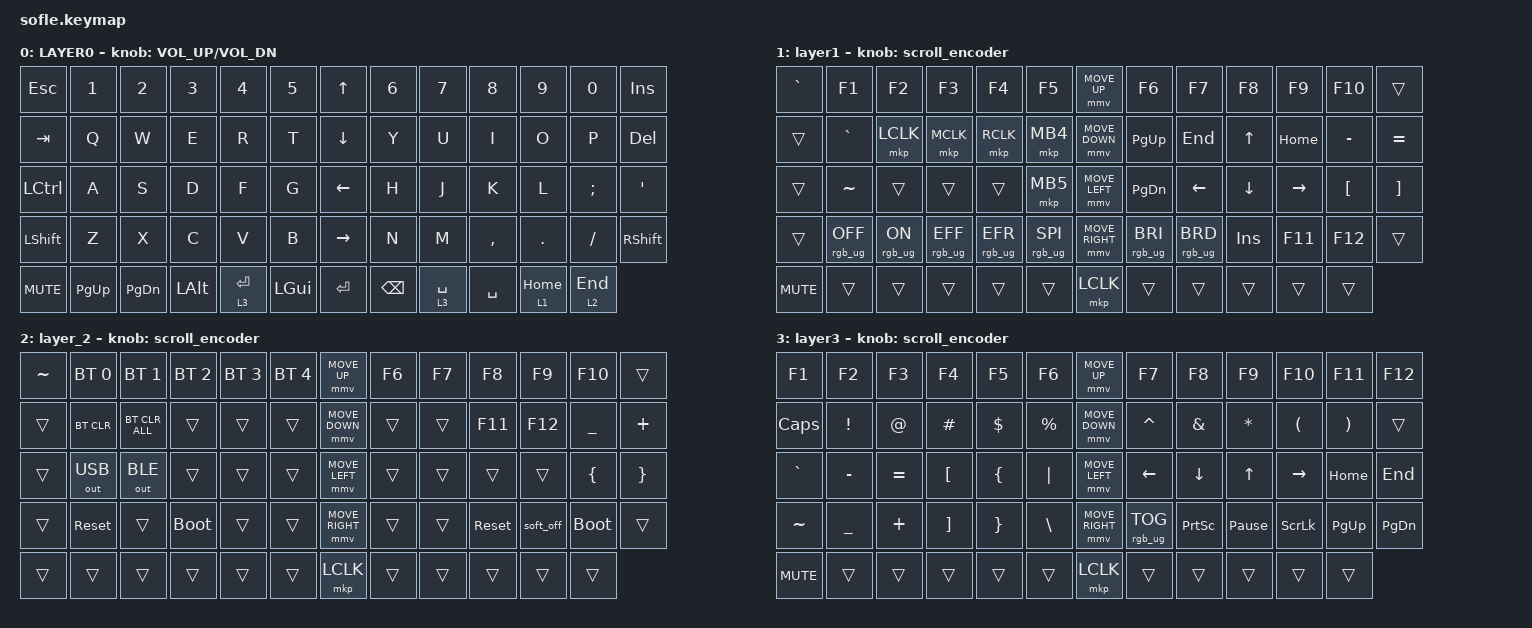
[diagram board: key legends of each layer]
#include <behaviors/mouse_keys.dtsi>
#include <behaviors.dtsi>
#include <dt-bindings/zmk/bt.h>
#include <dt-bindings/zmk/keys.h>
#include <dt-bindings/zmk/mouse.h>
#include <dt-bindings/zmk/outputs.h>
#include <dt-bindings/zmk/rgb.h>

#define ZMK_MOUSE_DEFAULT_MOVE_VAL 1200  // 600
#define ZMK_MOUSE_DEFAULT_SCRL_VAL 20    // 10
#define U_MS_U &mmv MOVE_UP
#define U_MS_D &mmv MOVE_DOWN
#define U_MS_L &mmv MOVE_LEFT
#define U_MS_R &mmv MOVE_RIGHT
#define ZMK_MOUSE_DEFAULT_MOVE_VAL 1200  //  600
#define ZMK_MOUSE_DEFAULT_SCRL_VAL 20    // 10

/ {
    behaviors {
        mmv {
            acceleration-exponent = <1>;      // 1
            time-to-max-speed-ms = <900>;    // 40
            delay-ms = <0>;                   // 0
        };

        msc {
            acceleration-exponent = <1>;      // 0
            time-to-max-speed-ms = <400>;      // 500
            delay-ms = <0>;                   //   10
        };
    };

    scroll_encoder: scroll_encoder {
        compatible = "zmk,behavior-sensor-rotate";
        #sensor-binding-cells = <0>;
        bindings = <&msc SCRL_DOWN>, <&msc SCRL_UP>;

        tap-ms = <30>;
    };

    keymap {
        compatible = "zmk,keymap";

        layer0 {
            bindings = <
&kp ESC     &kp N1     &kp N2        &kp N3        &kp N4       &kp N5        &kp UP_ARROW     &kp N6         &kp N7       &kp N8     &kp N9           &kp N0      &kp INS
&kp TAB     &kp Q      &kp W         &kp E         &kp R        &kp T         &kp DOWN_ARROW   &kp Y          &kp U        &kp I      &kp O            &kp P       &kp DEL
&kp LCTRL   &kp A      &kp S         &kp D         &kp F        &kp G         &kp LEFT_ARROW   &kp H          &kp J        &kp K      &kp L            &kp SEMI    &kp APOS
&kp LSHFT   &kp Z      &kp X         &kp C         &kp V        &kp B         &kp RIGHT_ARROW  &kp N          &kp M        &kp COMMA  &kp DOT          &kp FSLH    &kp RSHFT
&kp C_MUTE  &kp PG_UP  &kp PG_DN     &kp LEFT_ALT  &lt 3 ENTER  &kp LEFT_GUI  &kp ENTER        &kp BACKSPACE  &lt 3 SPACE  &kp SPACE  &lt 1 HOME       &lt 2 END
            >;

            sensor-bindings = <&inc_dec_kp C_VOLUME_UP C_VOL_DN>;
            display-name = "LAYER0";
        };

        layer_1 {
            bindings = <
&kp GRAVE   &kp F1           &kp F2          &kp F3           &kp F4           &kp F5             &mmv MOVE_UP     &kp F6           &kp F7           &kp F8      &kp F9     &kp F10           &trans
&trans      &kp GRAVE        &mkp LCLK       &mkp MCLK        &mkp RCLK        &mkp MB4           &mmv MOVE_DOWN   &kp PG_UP        &kp END          &kp UP      &kp HOME   &kp MINUS         &kp EQUAL
&trans      &kp TILDE        &trans          &trans           &trans           &mkp MB5           &mmv MOVE_LEFT   &kp PG_DN        &kp LEFT         &kp DOWN    &kp RIGHT  &kp LEFT_BRACKET  &kp RIGHT_BRACKET
&trans      &rgb_ug RGB_OFF  &rgb_ug RGB_ON  &rgb_ug RGB_EFF  &rgb_ug RGB_EFR  &rgb_ug RGB_SPI    &mmv MOVE_RIGHT  &rgb_ug RGB_BRI  &rgb_ug RGB_BRD  &kp INSERT  &kp F11    &kp F12           &trans
&kp C_MUTE  &trans           &trans          &trans           &trans           &trans             &mkp LCLK        &trans           &trans           &trans      &trans     &trans
            >;

            display-name = "layer1";
            sensor-bindings = <&scroll_encoder>;
        };

        layer_2 {
            bindings = <
&kp TILDE  &bt BT_SEL 0  &bt BT_SEL 1    &bt BT_SEL 2  &bt BT_SEL 3  &bt BT_SEL 4    &mmv MOVE_UP     &kp F6  &kp F7  &kp F8      &kp F9     &kp F10      &trans
&trans     &bt BT_CLR    &bt BT_CLR_ALL  &trans        &trans        &trans          &mmv MOVE_DOWN   &trans  &trans  &kp F11     &kp F12    &kp UNDER    &kp PLUS
&trans     &out OUT_USB  &out OUT_BLE    &trans        &trans        &trans          &mmv MOVE_LEFT   &trans  &trans  &trans      &trans     &kp LBRC     &kp RBRC
&trans     &sys_reset    &trans          &bootloader   &trans        &trans          &mmv MOVE_RIGHT  &trans  &trans  &sys_reset  &soft_off  &bootloader  &trans
&trans     &trans        &trans          &trans        &trans        &trans          &mkp LCLK        &trans  &trans  &trans      &trans     &trans
            >;

            sensor-bindings = <&scroll_encoder>;
        };

        layer_3 {
            bindings = <
&kp F1      &kp F2           &kp F3          &kp F4           &kp F5           &kp F6             &mmv MOVE_UP     &kp F7           &kp F8           &kp F9           &kp F10         &kp F11           &kp F12
&kp CLCK    &kp EXCL         &kp AT          &kp HASH         &kp DLLR         &kp PRCNT          &mmv MOVE_DOWN   &kp CARET        &kp AMPS         &kp STAR         &kp LPAR        &kp RPAR          &trans
&kp GRAVE   &kp MINUS        &kp EQUAL       &kp LBKT         &kp LBRC         &kp PIPE           &mmv MOVE_LEFT   &kp LEFT         &kp DOWN         &kp UP           &kp RIGHT       &kp HOME          &kp END
&kp TILDE   &kp UNDER        &kp PLUS        &kp RBKT         &kp RBRC         &kp BSLH           &mmv MOVE_RIGHT  &rgb_ug RGB_TOG  &kp PRINTSCREEN  &kp PAUSE_BREAK  &kp SCROLLLOCK  &kp PG_UP         &kp PG_DN
&kp C_MUTE  &trans           &trans          &trans           &trans           &trans             &mkp LCLK        &trans           &trans           &trans           &trans          &trans
            >;

            display-name = "layer3";
            sensor-bindings = <&scroll_encoder>;
        };
    };
};
